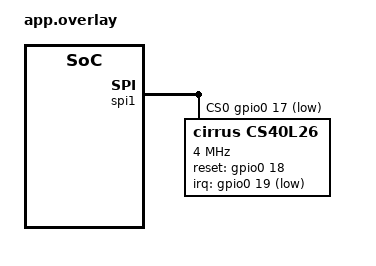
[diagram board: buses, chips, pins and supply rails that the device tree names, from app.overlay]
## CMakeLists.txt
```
# SPDX-License-Identifier: Apache-2.0
# Copyright (c) 2024 Cirrus Logic, Inc.

cmake_minimum_required(VERSION 3.20.0)

find_package(Zephyr REQUIRED HINTS $ENV{ZEPHYR_BASE})
project(cs40l26_sample)

target_sources(app PRIVATE src/main.c)
```

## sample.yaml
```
# SPDX-License-Identifier: Apache-2.0
# Copyright (c) 2024 Cirrus Logic, Inc.

sample:
  name: CS40L26 Haptic Driver Sample
  description: Sample application demonstrating CS40L26 haptic driver usage
tests:
  sample.drivers.haptic.cs40l26:
    tags: haptic spi
    depends_on: spi gpio
    harness: console
    harness_config:
      type: multi_line
      regex:
        - "CS40L26 Haptic Driver Sample"
        - "Device enumeration successful"
```

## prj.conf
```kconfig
# SPDX-License-Identifier: Apache-2.0
# Copyright (c) 2024 Cirrus Logic, Inc.

# Enable CS40L26 driver
CONFIG_CS40L26=y

# Enable SPI
CONFIG_SPI=y

# Enable GPIO
CONFIG_GPIO=y

# Enable logging
CONFIG_LOG=y
CONFIG_LOG_MODE_IMMEDIATE=y
CONFIG_CS40L26_LOG_LEVEL_INF=y

# Kernel options
CONFIG_MAIN_STACK_SIZE=2048
CONFIG_SYSTEM_WORKQUEUE_STACK_SIZE=2048
```

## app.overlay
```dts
/*
 * SPDX-License-Identifier: Apache-2.0
 * Copyright (c) 2024 Cirrus Logic, Inc.
 *
 * Sample device tree overlay for CS40L26 haptic driver
 * This is a template - adjust for your specific board
 */

/ {
	aliases {
		cs40l26 = &cs40l26;
	};
};

&spi1 {
	status = "okay";
	cs-gpios = <&gpio0 17 GPIO_ACTIVE_LOW>;

	cs40l26: cs40l26@0 {
		compatible = "cirrus,cs40l26";
		reg = <0>;
		spi-max-frequency = <4000000>;
		reset-gpios = <&gpio0 18 GPIO_ACTIVE_HIGH>;
		irq-gpios = <&gpio0 19 (GPIO_ACTIVE_LOW | GPIO_PULL_UP)>;
		label = "CS40L26";
	};
};
```

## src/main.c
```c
/*
 * SPDX-License-Identifier: Apache-2.0
 * Copyright (c) 2024 Cirrus Logic, Inc.
 *
 * CS40L26 Haptic Driver Sample Application
 */

#include <zephyr/kernel.h>
#include <zephyr/device.h>
#include <zephyr/logging/log.h>
#include <zephyr/drivers/haptic/cs40l26.h>

LOG_MODULE_REGISTER(cs40l26_sample, LOG_LEVEL_INF);

/* Get the CS40L26 device from device tree */
#define CS40L26_NODE DT_NODELABEL(cs40l26)

#if !DT_NODE_EXISTS(CS40L26_NODE)
#error "No cs40l26 device found in device tree"
#endif

int main(void)
{
	const struct device *dev;
	int ret;

	LOG_INF("CS40L26 Haptic Driver Sample with I2S Support");

	/* Get device binding */
	dev = DEVICE_DT_GET(CS40L26_NODE);
	if (!device_is_ready(dev)) {
		LOG_ERR("CS40L26 device not ready");
		return -ENODEV;
	}

	LOG_INF("Device enumeration successful");
	
	/* The device was already initialized and diagnostics run during init */

	/* Demonstrate I2S interface control */
	LOG_INF("Testing I2S interface...");

	/* Start I2S interface */
	ret = cs40l26_i2s_start(dev);
	if (ret) {
		LOG_ERR("Failed to start I2S: %d", ret);
	} else {
		LOG_INF("I2S started successfully");
		
		/* Check I2S status */
		if (cs40l26_i2s_is_enabled(dev)) {
			LOG_INF("I2S is currently enabled");
		}

		/* Wait a bit to demonstrate active I2S */
		k_sleep(K_SECONDS(2));

		/* Stop I2S interface */
		ret = cs40l26_i2s_stop(dev);
		if (ret) {
			LOG_ERR("Failed to stop I2S: %d", ret);
		} else {
			LOG_INF("I2S stopped successfully");
		}
	}

	LOG_INF("Sample application running...");

	/* Keep application running */
	while (1) {
		k_sleep(K_SECONDS(1));
	}

	return 0;
}
```
